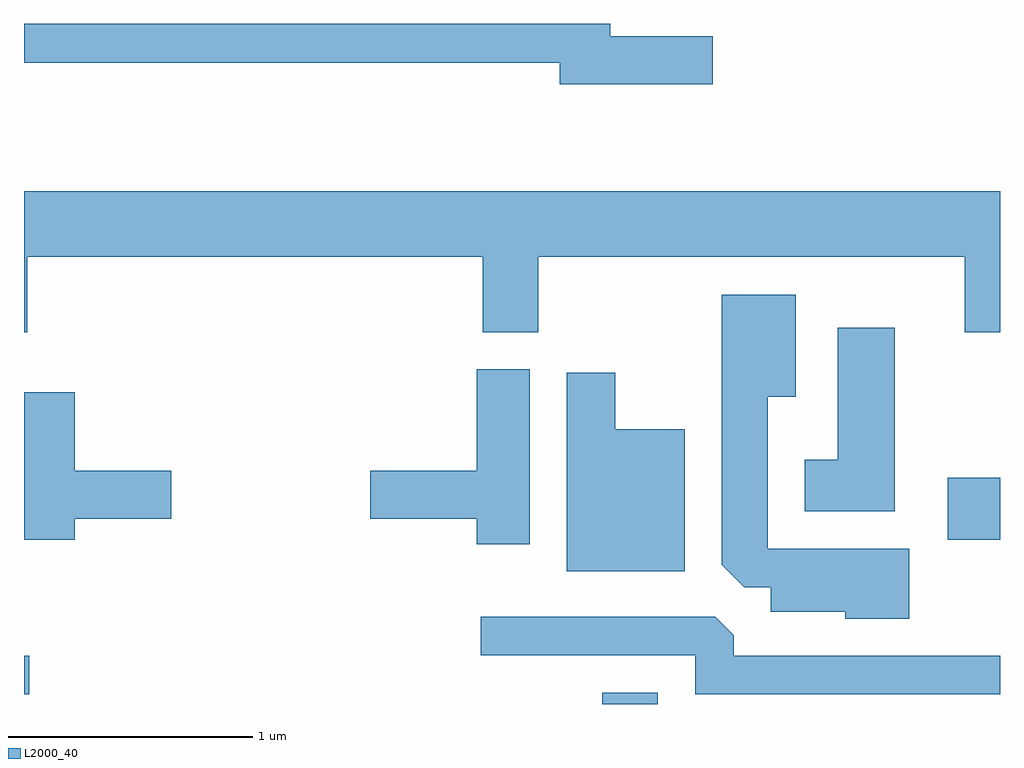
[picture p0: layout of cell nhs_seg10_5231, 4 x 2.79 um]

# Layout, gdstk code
import gdstk
lib = gdstk.Library(unit=1e-6, precision=1e-09)
def R(c, l, rs):  # rectangles x0, y0, x1, y1
    for r in rs: c.add(gdstk.rectangle(r[:2], r[2:], *l))
def P(c, l, *ps):  # polygons
    for p in ps: c.add(gdstk.Polygon(p, *l))
L2000_40 = (2000, 40)

nhs_seg10_5231 = lib.new_cell('nhs_seg10_5231')
R(nhs_seg10_5231, L2000_40, [(341.981,2116.522,342.209,2116.569), (339.611,2116.561,339.633,2116.719), (343.396,2117.196,343.611,2117.449)])
P(nhs_seg10_5231, L2000_40, [(342.434,2119.259),(342.014,2119.259),(342.014,2119.309),(339.611,2119.309),(339.611,2119.151),(341.806,2119.151),(341.806,2119.061),(342.434,2119.061)],
  [(339.624,2118.356),(341.491,2118.356),(341.491,2118.046),(341.719,2118.046),(341.719,2118.356),(343.466,2118.356),(343.466,2118.046),(343.611,2118.046),(343.611,2118.624),(339.611,2118.624),(339.611,2118.046),(339.624,2118.046)],
  [(343.239,2117.159),(342.659,2117.159),(342.659,2117.781),(342.774,2117.781),(342.774,2118.199),(342.471,2118.199),(342.471,2117.092),(342.562,2117.001),(342.671,2117.001),(342.671,2116.901),(342.976,2116.901),(342.976,2116.871),(343.239,2116.871)],
  [(343.179,2118.064),(342.946,2118.064),(342.946,2117.524),(342.811,2117.524),(342.811,2117.311),(343.179,2117.311)],
  [(341.684,2117.894),(341.466,2117.894),(341.466,2117.479),(341.031,2117.479),(341.031,2117.281),(341.466,2117.281),(341.466,2117.176),(341.684,2117.176)],
  [(342.319,2117.649),(342.034,2117.649),(342.034,2117.879),(341.836,2117.879),(341.836,2117.066),(342.319,2117.066)],
  [(339.819,2117.281),(340.214,2117.281),(340.214,2117.479),(339.819,2117.479),(339.819,2117.799),(339.611,2117.799),(339.611,2117.196),(339.819,2117.196)],
  [(343.611,2116.719),(342.519,2116.719),(342.519,2116.804),(342.444,2116.879),(341.483,2116.879),(341.483,2116.721),(342.361,2116.721),(342.361,2116.561),(343.611,2116.561)])

lib.write_gds('nhs_seg10_5231.gds')
